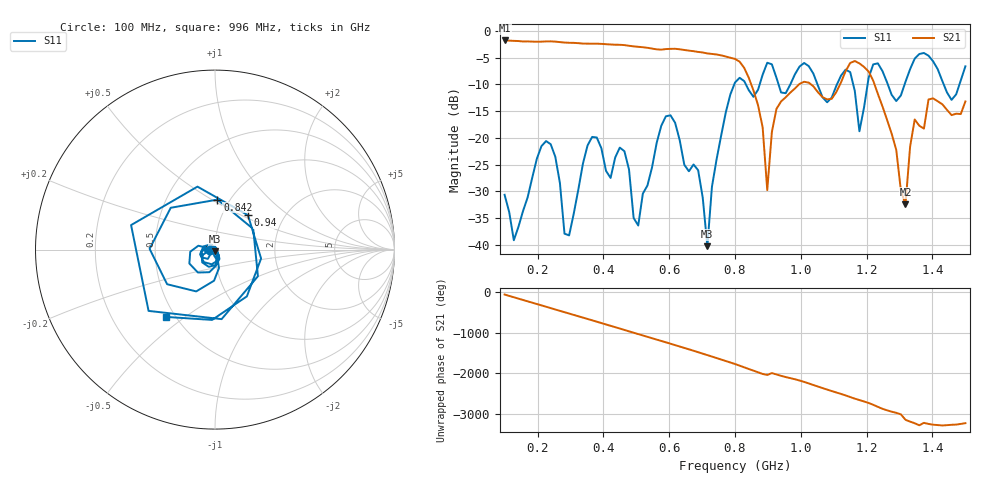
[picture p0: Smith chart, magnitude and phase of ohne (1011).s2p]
! NanoVNA-App
! Date: 2025-09-25 14:28:40
! Start: 100MHz Stop: 1,5GHz Points: 101
! S-Parameter data: F S11 S21 S12 S22
# Hz S RI R 50
!  Frequency  S11_Real  S11_Imag  S21_Real  S21_Imag  S12_Real  S12_Imag  S22_Real  S22_Imag
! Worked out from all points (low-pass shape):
!   101 points, 100 MHz to 1.5 GHz, reference 50 ohm
!   highest |S21| = -1.79 dB at 100 MHz (marker M1); lowest = -32.4 dB at 1.318 GHz (marker M2)
!   |S21| within 3 dB of the highest: start of sweep to 772 MHz
!   lowest |S11| = -40.2 dB at 716 MHz (marker M3), VSWR 1.02, Z = 49.7 - j0.933 ohm
!   |S11| at or under -10 dB: start of sweep to 797.8 MHz; 833 MHz to 875 MHz (42 MHz wide, 4.92 % of centre); 1.051 GHz to 1.11 GHz (59.26 MHz wide, 5.49 % of centre) (the widest 3 of 7)
!   S12 and S22 are empty: the file has one direction only
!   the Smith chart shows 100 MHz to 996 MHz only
!   S11 on the Smith chart (normalised r, x): 100 MHz: 0.94, -0.01; 842 MHz: 0.88, +0.53; 940 MHz: 1.32, +0.55; 996 MHz: 0.45, -0.43
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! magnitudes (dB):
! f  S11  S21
! 100 MHz  -30.6  -1.8
! 128 MHz  -39.1  -1.9
! 226 MHz  -20.6  -2.0
! 296 MHz  -38.2  -2.2
! 338 MHz  -24.8  -2.4
! 464 MHz  -22.5  -2.7
! 506 MHz  -36.4  -3.0
! 576 MHz  -17.7  -3.5
! 688 MHz  -26.0  -3.9
! 716 MHz  -40.2  -4.2
! 800 MHz  -9.7  -5.2
! 842 MHz  -11.1  -8.8
! 898 MHz  -6.0  -29.8
! 940 MHz  -11.5  -13.2
! 996 MHz  -6.7  -9.9
! 1.038 GHz  -8.0  -10.4
! 1.178 GHz  -18.8  -6.1
! 1.22 GHz  -6.3  -9.3
! 1.276 GHz  -12.0  -19.2
! 1.318 GHz  -9.5  -32.4
! 1.346 GHz  -5.2  -16.6
! 1.5 GHz  -6.6  -13.2
